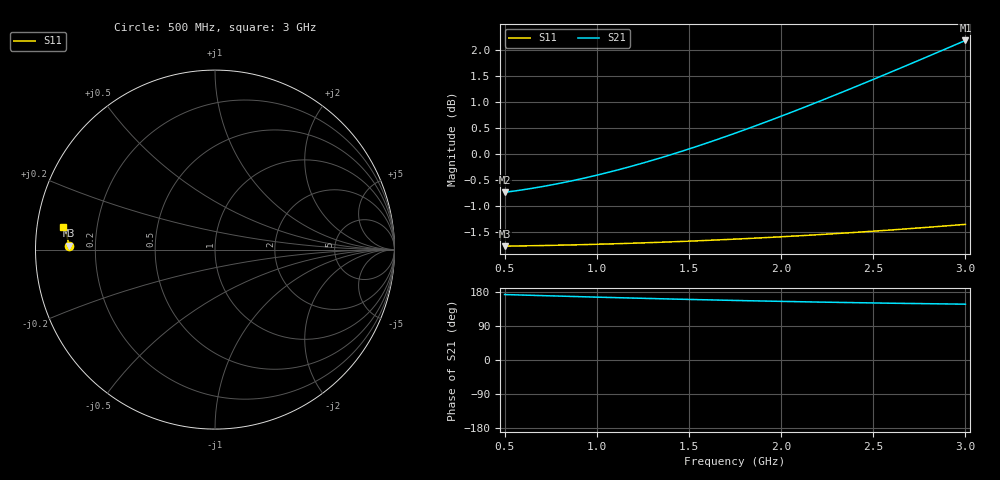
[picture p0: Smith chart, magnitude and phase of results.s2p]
! rfsim (KiCad + openEMS)
# HZ S RI R 50
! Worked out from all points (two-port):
!   251 points, 500 MHz to 3 GHz, reference 50 ohm
!   highest |S21| = 2.17 dB at 3 GHz (marker M1); lowest = -0.7 dB at 500 MHz (marker M2)
!   |S21| within 3 dB of the highest: start of sweep to end of sweep
!   lowest |S11| = -1.8 dB at 500 MHz (marker M3), VSWR 9.85, Z = 5.08 + j0.646 ohm
!   |S11| at or under -10 dB: nowhere
!   S12 and S22 are empty: the file has one direction only
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5e8  -0.8154 0.0213  -0.9111 0.1165  0 0  0 0
6e8  -0.8158 0.0256  -0.9132 0.1398  0 0  0 0
7.1e8  -0.8163 0.0302  -0.9159 0.1654  0 0  0 0
9.2e8  -0.8174 0.0392  -0.9222 0.2143  0 0  0 0
1.13e9  -0.8189 0.0481  -0.9303 0.2632  0 0  0 0
1.24e9  -0.8198 0.0528  -0.9352 0.2887  0 0  0 0
1.34e9  -0.8207 0.057  -0.94 0.312  0 0  0 0
1.45e9  -0.8217 0.0617  -0.9458 0.3375  0 0  0 0
1.55e9  -0.8228 0.0659  -0.9515 0.3607  0 0  0 0
1.75e9  -0.8251 0.0744  -0.9641 0.4071  0 0  0 0
1.86e9  -0.8265 0.0791  -0.9717 0.4325  0 0  0 0
1.96e9  -0.8278 0.0833  -0.979 0.4556  0 0  0 0
2.07e9  -0.8294 0.0879  -0.9876 0.481  0 0  0 0
2.17e9  -0.8309 0.0922  -0.9958 0.5041  0 0  0 0
2.28e9  -0.8326 0.0968  -1.005 0.5294  0 0  0 0
2.38e9  -0.8343 0.101  -1.014 0.5523  0 0  0 0
2.49e9  -0.8362 0.1056  -1.025 0.5776  0 0  0 0
2.59e9  -0.838 0.1098  -1.035 0.6005  0 0  0 0
2.7e9  -0.8402 0.1144  -1.047 0.6256  0 0  0 0
2.8e9  -0.8422 0.1185  -1.057 0.6484  0 0  0 0
2.9e9  -0.8443 0.1227  -1.069 0.6711  0 0  0 0
3e9  -0.8464 0.1268  -1.081 0.6938  0 0  0 0
